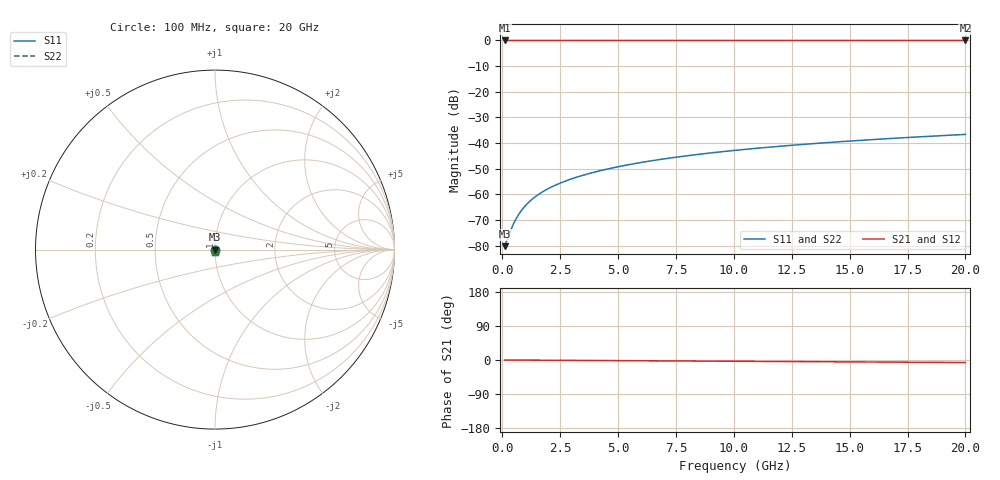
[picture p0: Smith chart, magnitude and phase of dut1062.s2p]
! Touchstone file exported from HFSS 2026.1.0
!  File:  C:/ffzhzh/LocalFiles/Ansys_Project_Files/temp_train_TSV_1062_1783189731_43440.aedt
!  Generated:  02:30:13 AM Jul  5, 2026
!  Design:  TSV
!  Project:  temp_train_TSV_1062_1783189731_43440
! Variables:
!  h_bsmrdl = 2um
!  h_ox = 20um
!  h_rdl = 5um
!  h_sub = 65.31um
!  h_tmrdl = 5um
!  h_tsv = 65.31um
!  h_via = 3um
!  l_bsmrdl = 300um
!  l_sub = 423.26um
!  l_tmrdl = 200um
!  m_sub = 200um
!  pitch = 41.08um
!  r_tsv = 11.63um
!  s_tmrdl = 10um
!  w_bsmrdl = 18um
!  w_sub = 500um
!  w_tmrdl = 12um
!  x_tsv_center1 = 206um
!  x_tsv_center2 = 524um
!  x_tsv_center3 = 736um
!  x_tsv_center4 = 1054um
!  x_tsv_center5 = 1266um
!  x_tsv_center6 = 1584um
# GHz S MA R 50.000000
! Terminal data exported
! Port[1] = TSV1_1_T1
! Port[2] = TSV1_1_T2
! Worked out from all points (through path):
!   200 points, 100 MHz to 20 GHz, reference 50 ohm
!   highest |S21| = 0.00 dB at 100 MHz (marker M1); lowest = 0.0 dB at 20 GHz (marker M2)
!   lowest |S11| = -80.2 dB at 100 MHz (marker M3), VSWR 1.00, Z = 50 - j0.00365 ohm
!   |S11| at or under -10 dB: start of sweep to end of sweep
!   |S22| runs from -80.2 to -36.6 dB; largest |S21 - S12| = 2.7e-15
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0.1  9.731e-05 -22.0  0.9999 -0.0  0.9999 -0.0  9.731e-05 -22.0
! Gamma 0 0 0 0
! Port Impedance 50 0 50 0
0.2  0.0001265 -36.8  0.9999 -0.1  0.9999 -0.1  0.0001265 -36.8
0.4  0.000218 -51.1  0.9999 -0.1  0.9999 -0.1  0.000218 -51.1
0.5  0.0002743 -55.0  0.9998 -0.2  0.9998 -0.2  0.0002743 -55.0
0.6  0.0003351 -58.1  0.9998 -0.2  0.9998 -0.2  0.0003351 -58.1
0.7  0.0003992 -60.6  0.9998 -0.2  0.9998 -0.2  0.0003992 -60.6
0.9  0.000533 -64.7  0.9998 -0.3  0.9998 -0.3  0.000533 -64.7
1.2  0.0007403 -69.2  0.9997 -0.4  0.9997 -0.4  0.0007403 -69.2
1.4  0.00088 -71.4  0.9997 -0.5  0.9997 -0.5  0.00088 -71.4
1.6  0.00102 -73.2  0.9997 -0.5  0.9997 -0.5  0.00102 -73.2
2.1  0.001371 -76.4  0.9997 -0.7  0.9997 -0.7  0.001371 -76.4
2.7  0.001793 -78.8  0.9996 -0.9  0.9996 -0.9  0.001793 -78.8
3.5  0.002362 -80.9  0.9996 -1.2  0.9996 -1.2  0.002362 -80.9
4.2  0.002864 -82.1  0.9995 -1.4  0.9995 -1.4  0.002864 -82.1
5  0.003445 -83.2  0.9995 -1.7  0.9995 -1.7  0.003445 -83.2
5.9  0.004104 -84.2  0.9994 -2.0  0.9994 -2.0  0.004104 -84.2
6.8  0.004768 -85.1  0.9994 -2.3  0.9994 -2.3  0.004768 -85.1
8.3  0.005884 -86.3  0.9993 -2.8  0.9993 -2.8  0.005884 -86.3
10.1  0.00723 -87.6  0.9992 -3.4  0.9992 -3.4  0.00723 -87.6
13.4  0.00971 -89.5  0.9991 -4.5  0.9991 -4.5  0.00971 -89.5
16.7  0.0122 -91.2  0.999 -5.6  0.999 -5.6  0.0122 -91.2
20  0.01471 -92.6  0.9989 -6.6  0.9989 -6.6  0.01471 -92.6
